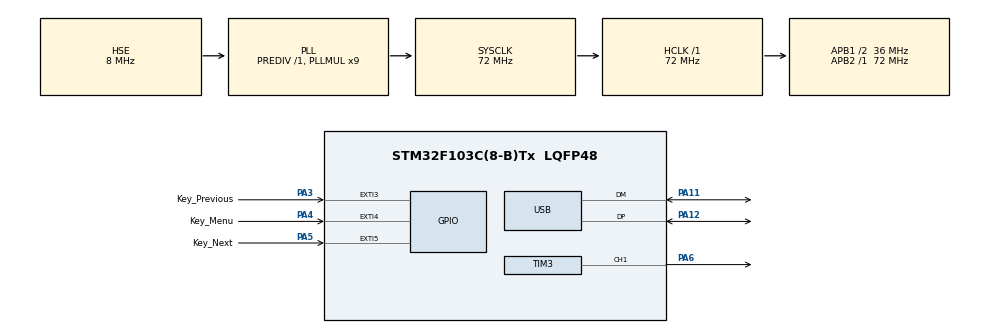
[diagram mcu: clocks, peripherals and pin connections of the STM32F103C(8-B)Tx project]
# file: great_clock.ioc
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Dma.Request0=TIM3_CH1/TRIG
Dma.TIM3_CH1/TRIG.0.Direction=DMA_MEMORY_TO_PERIPH
Dma.TIM3_CH1/TRIG.0.Instance=DMA1_Channel6
Dma.TIM3_CH1/TRIG.0.MemDataAlignment=DMA_MDATAALIGN_BYTE
Dma.TIM3_CH1/TRIG.0.MemInc=DMA_MINC_ENABLE
Dma.TIM3_CH1/TRIG.0.Mode=DMA_NORMAL
Dma.TIM3_CH1/TRIG.0.PeriphDataAlignment=DMA_PDATAALIGN_HALFWORD
Dma.TIM3_CH1/TRIG.0.PeriphInc=DMA_PINC_DISABLE
Dma.TIM3_CH1/TRIG.0.Priority=DMA_PRIORITY_LOW
Mcu.Family=STM32F1
Mcu.Name=STM32F103C(8-B)Tx
Mcu.Package=LQFP48
NVIC.DMA1_Channel6_IRQn=true\:0\:0\:false\:false\:true\:false\:true
NVIC.EXTI3_IRQn=true\:0\:0\:false\:false\:true\:true\:true
NVIC.EXTI4_IRQn=true\:0\:0\:false\:false\:true\:true\:true
NVIC.EXTI9_5_IRQn=true\:3\:0\:true\:false\:true\:true\:true
NVIC.PriorityGroup=NVIC_PRIORITYGROUP_4
NVIC.RTC_IRQn=true\:0\:0\:true\:false\:true\:true\:true
NVIC.TIM2_IRQn=true\:2\:0\:true\:false\:true\:true\:true
NVIC.TIM4_IRQn=true\:1\:0\:true\:false\:true\:true\:true
NVIC.USB_LP_CAN1_RX0_IRQn=true\:0\:0\:false\:false\:true\:false\:true
PA11.Mode=Device
PA11.Signal=USB_DM
PA12.Mode=Device
PA12.Signal=USB_DP
PA13.Mode=Serial_Wire
PA13.Signal=SYS_JTMS-SWDIO
PA14.Mode=Serial_Wire
PA14.Signal=SYS_JTCK-SWCLK
PA3.GPIO_Label=Key_Previous
PA3.GPIO_ModeDefaultEXTI=GPIO_MODE_IT_FALLING
PA3.GPIO_PuPd=GPIO_PULLUP
PA3.Signal=GPXTI3
PA4.GPIO_Label=Key_Menu
PA4.GPIO_ModeDefaultEXTI=GPIO_MODE_IT_FALLING
PA4.GPIO_PuPd=GPIO_PULLUP
PA4.Signal=GPXTI4
PA5.GPIO_Label=Key_Next
PA5.GPIO_ModeDefaultEXTI=GPIO_MODE_IT_FALLING
PA5.GPIO_PuPd=GPIO_PULLUP
PA5.Signal=GPXTI5
PA6.Signal=S_TIM3_CH1
PC14-OSC32_IN.Mode=LSE-External-Oscillator
PC14-OSC32_IN.Signal=RCC_OSC32_IN
PC15-OSC32_OUT.Mode=LSE-External-Oscillator
PC15-OSC32_OUT.Signal=RCC_OSC32_OUT
PD0-OSC_IN.Mode=HSE-External-Oscillator
PD0-OSC_IN.Signal=RCC_OSC_IN
PD1-OSC_OUT.Mode=HSE-External-Oscillator
PD1-OSC_OUT.Signal=RCC_OSC_OUT
ProjectManager.HeapSize=0x200
ProjectManager.StackSize=0x400
ProjectManager.TargetToolchain=MDK-ARM V5.27
RCC.AHBFreq_Value=72000000
RCC.APB1CLKDivider=RCC_HCLK_DIV2
RCC.APB1Freq_Value=36000000
RCC.APB1TimFreq_Value=72000000
RCC.APB2Freq_Value=72000000
RCC.APB2TimFreq_Value=72000000
RCC.HCLKFreq_Value=72000000
RCC.PLLMUL=RCC_PLL_MUL9
RCC.PLLSourceVirtual=RCC_PLLSOURCE_HSE
RCC.RTCClockSelection=RCC_RTCCLKSOURCE_LSE
RCC.SYSCLKFreq_VALUE=72000000
RCC.SYSCLKSource=RCC_SYSCLKSOURCE_PLLCLK
RCC.USBFreq_Value=48000000
RCC.USBPrescaler=RCC_USBCLKSOURCE_PLL_DIV1_5
RTC.Format=RTC_FORMAT_BIN
RTC.Hours=12
RTC.Month=RTC_MONTH_OCTOBER
RTC.WeekDay=RTC_WEEKDAY_TUESDAY
RTC.Year=19
SH.S_TIM3_CH1.0=TIM3_CH1,PWM Generation1 CH1
TIM2.Period=100-1
TIM2.Prescaler=7200-1
TIM3.Channel-PWM\ Generation1\ CH1=TIM_CHANNEL_1
TIM3.Period=80-1
TIM4.CounterMode=TIM_COUNTERMODE_DOWN
TIM4.Period=1000-1
TIM4.Prescaler=72-1
USB_DEVICE.CLASS_NAME_FS=CDC
USB_DEVICE.MANUFACTURER_STRING=Clock
USB_DEVICE.PRODUCT_STRING_CDC_FS=GreatClock
USB_DEVICE.VirtualMode=Cdc
USB_DEVICE.VirtualModeFS=Cdc_FS
VP_RTC_VS_RTC_Activate.Mode=RTC_Enabled
VP_RTC_VS_RTC_Calendar.Mode=RTC_Calendar
VP_TIM2_VS_ClockSourceINT.Mode=Internal
VP_TIM3_VS_ClockSourceINT.Mode=Internal
VP_TIM4_VS_ClockSourceINT.Mode=Internal
VP_USB_DEVICE_VS_USB_DEVICE_CDC_FS.Mode=CDC_FS
board=custom

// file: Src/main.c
/* USER CODE BEGIN Header */
/**
******************************************************************************
* @file           : main.c
* @brief          : Main program body
******************************************************************************
* @attention
*
* <h2><center>&copy; Copyright (c) 2019 STMicroelectronics.
* All rights reserved.</center></h2>
*
* This software component is licensed by ST under BSD 3-Clause license,
* the "License"; You may not use this file except in compliance with the
* License. You may obtain a copy of the License at:
*                        opensource.org/licenses/BSD-3-Clause
*
******************************************************************************
*/
/* USER CODE END Header */

#include "main.h"
#include "usb_device.h"

/* USER CODE BEGIN Includes */
#include "time.h"
#include "key.h"
#include "commander.h"
#include "ws2812b.h"
#include "user_data.h"
/* USER CODE END Includes */

/* USER CODE BEGIN PM */
//#define RTT_DEBUG
/* USER CODE END PM */

RTC_HandleTypeDef hrtc;

TIM_HandleTypeDef htim2;
TIM_HandleTypeDef htim3;
TIM_HandleTypeDef htim4;
DMA_HandleTypeDef hdma_tim3_ch1_trig;

/* USER CODE BEGIN PV */

//Count Mode

//Common

char buf[100];  //缓存字符串

/* USER CODE END PV */

void SystemClock_Config(void);
static void MX_GPIO_Init(void);
static void MX_RTC_Init(void);
static void MX_DMA_Init(void);
static void MX_TIM3_Init(void);
static void MX_TIM4_Init(void);
static void MX_TIM2_Init(void);

/* USER CODE BEGIN 0 */

//PWM生成完成中断
void HAL_TIM_PWM_PulseFinishedCallback(TIM_HandleTypeDef *htim)
{
  __HAL_TIM_SET_COMPARE(&htim3,TIM_CHANNEL_1,0);
  HAL_TIM_PWM_Stop_DMA(htim,TIM_CHANNEL_1);
}

//RTC秒中断
void HAL_RTCEx_RTCEventCallback(RTC_HandleTypeDef *hrtc)
{
  current_datetime=Get_DateTime();
}

void HAL_GPIO_EXTI_Callback(uint16_t GPIO_Pin)
{
  for(int i=0;i<3;i++)
  {
    if(GPIO_Pin==keys[i].Pin)
    {
      keys[i].Key_Down=1u;
    }
  }
}

//定时器周期中断
uint16_t count=0;
void HAL_TIM_PeriodElapsedCallback(TIM_HandleTypeDef *htim)
{
  if(htim==&htim4)
  {
    //1ms
    Key_Method_Judge(&keys[1]);
    Key_Method_Judge(&keys[0]);
    Key_Method_Judge(&keys[2]);
  }
  else if(htim==&htim2)
  {
    //10ms
    switch(Global_Mode)
    {
    case SettingMode:
      if(setting_time_or_date)
      {
        if(setting_select_glitter_count%80>40)
        {
          switch(setting_edit_position)
          {
          case 0:
            Load_Num(1,set_datetime.year%10,0x000000);
            Load_Num(0,set_datetime.year%100/10,0x000000);
            break;
          case 1:
            Load_Num(3,set_datetime.month%10,0x000000);
            Load_Num(2,set_datetime.month/10,0x000000);
            break;
          case 2:
            Load_Num(5,set_datetime.date%10,0x000000);
            Load_Num(4,set_datetime.date/10,0x000000);
            break;
          }
        }
        else
        {
          Load_Num(5,set_datetime.date%10,0xffff00);
          Load_Num(4,set_datetime.date/10,0xffff00);
          Load_Num(3,set_datetime.month%10,0xffff00);
          Load_Num(2,set_datetime.month/10,0xffff00);
          Load_Num(1,set_datetime.year%10,0xffff00);
          Load_Num(0,set_datetime.year%100/10,0xffff00);
        }
        Show_RGB();
      }
      else
      {
        if(setting_select_glitter_count%80>40)
        {
          switch(setting_edit_position)
          {
          case 0:
            Load_Num(1,set_datetime.hour%10,0x000000);
            Load_Num(0,set_datetime.hour/10,0x000000);
            break;
          case 1:
            Load_Num(3,set_datetime.minute%10,0x000000);
            Load_Num(2,set_datetime.minute/10,0x000000);
            break;
          case 2:
            Load_Num(5,set_datetime.second%10,0x000000);
            Load_Num(4,set_datetime.second/10,0x000000);
            break;
          }
        }
        else
        {
          Load_Num(5,set_datetime.second%10,0x00fffff);
          Load_Num(4,set_datetime.second/10,0x00fffff);
          Load_Num(3,set_datetime.minute%10,0x00fffff);
          Load_Num(2,set_datetime.minute/10,0x00fffff);
          Load_Num(1,set_datetime.hour%10,0x00fffff);
          Load_Num(0,set_datetime.hour/10,0x00fffff);
        }
        Show_RGB();
      }
      break;
    case CountMode:
      Load_Num(5,set_datetime.second%10,0x00ff00);
      Load_Num(4,set_datetime.second/10,0x00ff00);
      Load_Num(3,set_datetime.minute%10,0x00ff00);
      Load_Num(2,set_datetime.minute/10,0x00ff00);
      Load_Num(1,set_datetime.hour%10,0x00ff00);
      Load_Num(0,set_datetime.hour/10,0x00ff00);
      Show_RGB();
      break;
    case DisplayMode:
      if(data.others[0]*60+data.others[1]<data.others[2]*60+data.others[3])
      {
        if(current_datetime.hour*60+current_datetime.minute>data.others[0]*60+data.others[1]&&
           current_datetime.hour*60+current_datetime.minute<data.others[2]*60+data.others[3])
        {
          if(display_time_or_date)
          {
            show_date();
            count++;
          }
          else
          {
            show_time();
            count++;
          }
          break;

        }
      }
      else
      {
        if(current_datetime.hour*60+current_datetime.minute>data.others[0]*60+data.others[1]||
           current_datetime.hour*60+current_datetime.minute<data.others[2]*60+data.others[3])
        {
          if(display_time_or_date)
          {
            show_date();
            count++;
          }
          else
          {
            show_time();
            count++;
          }
          break;

        }
      }
      Clear_RGB();
      Show_RGB();
    }
    (setting_select_glitter_count<0xffffff)?(setting_select_glitter_count++):(setting_select_glitter_count=0);
  }
}
/* USER CODE END 0 */

int main(void)
{
  /* USER CODE BEGIN 1 */
  __enable_irq();
  /* USER CODE END 1 */

  /* MCU Configuration--------------------------------------------------------*/

  /* Reset of all peripherals, Initializes the Flash interface and the Systick. */
  HAL_Init();

  /* Configure the system clock */
  SystemClock_Config();

  /* Initialize all configured peripherals */
  MX_GPIO_Init();
  MX_RTC_Init();
  MX_USB_DEVICE_Init();
  MX_DMA_Init();
  MX_TIM3_Init();
  MX_TIM4_Init();
  MX_TIM2_Init();
  /* USER CODE BEGIN 2 */
  __HAL_RCC_BKP_CLK_ENABLE();
  HAL_RTCEx_SetSecond_IT(&hrtc);
  //读取RGB设置，显示时间
  Get_Data();
  current_datetime=Get_DateTime();
  show_time();
  HAL_TIM_Base_Start_IT(&htim4);
  HAL_TIM_Base_Start_IT(&htim2);
  /* USER CODE END 2 */

  /* Infinite loop */
  /* USER CODE BEGIN WHILE */
  while (1)
  {
    Wait_For_Commander();
    /* USER CODE END WHILE */

  }
}

void SystemClock_Config(void)
{
  RCC_OscInitTypeDef RCC_OscInitStruct = {0};
  RCC_ClkInitTypeDef RCC_ClkInitStruct = {0};
  RCC_PeriphCLKInitTypeDef PeriphClkInit = {0};

  /** Initializes the CPU, AHB and APB busses clocks
  */
  RCC_OscInitStruct.OscillatorType = RCC_OSCILLATORTYPE_HSE|RCC_OSCILLATORTYPE_LSE;
  RCC_OscInitStruct.HSEState = RCC_HSE_ON;
  RCC_OscInitStruct.HSEPredivValue = RCC_HSE_PREDIV_DIV1;
  RCC_OscInitStruct.LSEState = RCC_LSE_ON;
  RCC_OscInitStruct.HSIState = RCC_HSI_ON;
  RCC_OscInitStruct.PLL.PLLState = RCC_PLL_ON;
  RCC_OscInitStruct.PLL.PLLSource = RCC_PLLSOURCE_HSE;
  RCC_OscInitStruct.PLL.PLLMUL = RCC_PLL_MUL9;
  if (HAL_RCC_OscConfig(&RCC_OscInitStruct) != HAL_OK)
  {
    Error_Handler();
  }
  /** Initializes the CPU, AHB and APB busses clocks
  */
  RCC_ClkInitStruct.ClockType = RCC_CLOCKTYPE_HCLK|RCC_CLOCKTYPE_SYSCLK
    |RCC_CLOCKTYPE_PCLK1|RCC_CLOCKTYPE_PCLK2;
  RCC_ClkInitStruct.SYSCLKSource = RCC_SYSCLKSOURCE_PLLCLK;
  RCC_ClkInitStruct.AHBCLKDivider = RCC_SYSCLK_DIV1;
  RCC_ClkInitStruct.APB1CLKDivider = RCC_HCLK_DIV2;
  RCC_ClkInitStruct.APB2CLKDivider = RCC_HCLK_DIV1;

  if (HAL_RCC_ClockConfig(&RCC_ClkInitStruct, FLASH_LATENCY_2) != HAL_OK)
  {
    Error_Handler();
  }
  PeriphClkInit.PeriphClockSelection = RCC_PERIPHCLK_RTC|RCC_PERIPHCLK_USB;
  PeriphClkInit.RTCClockSelection = RCC_RTCCLKSOURCE_LSE;
  PeriphClkInit.UsbClockSelection = RCC_USBCLKSOURCE_PLL_DIV1_5;
  if (HAL_RCCEx_PeriphCLKConfig(&PeriphClkInit) != HAL_OK)
  {
    Error_Handler();
  }
}

static void MX_RTC_Init(void)
{

  RTC_TimeTypeDef sTime = {0};
  RTC_DateTypeDef DateToUpdate = {0};

  /** Initialize RTC Only
  */
  hrtc.Instance = RTC;
  hrtc.Init.AsynchPrediv = RTC_AUTO_1_SECOND;
  hrtc.Init.OutPut = RTC_OUTPUTSOURCE_ALARM;
  if (HAL_RTC_Init(&hrtc) != HAL_OK)
  {
    Error_Handler();
  }

  /* USER CODE BEGIN Check_RTC_BKUP */
  if(HAL_RTCEx_BKUPRead(&hrtc,RTC_BKP_DR10)==0xabcdu)
  {
    return;
  }
  /* USER CODE END Check_RTC_BKUP */

  /** Initialize RTC and set the Time and Date
  */
  sTime.Hours = 12;
  sTime.Minutes = 0;
  sTime.Seconds = 0;

  if (HAL_RTC_SetTime(&hrtc, &sTime, RTC_FORMAT_BIN) != HAL_OK)
  {
    Error_Handler();
  }
  DateToUpdate.WeekDay = RTC_WEEKDAY_TUESDAY;
  DateToUpdate.Month = RTC_MONTH_OCTOBER;
  DateToUpdate.Date = 1;
  DateToUpdate.Year = 19;

  if (HAL_RTC_SetDate(&hrtc, &DateToUpdate, RTC_FORMAT_BIN) != HAL_OK)
  {
    Error_Handler();
  }
  /* USER CODE BEGIN RTC_Init 2 */
  HAL_RTCEx_BKUPWrite(&hrtc,RTC_BKP_DR10,0xabcdu);
  /* USER CODE END RTC_Init 2 */

}

static void MX_TIM2_Init(void)
{

  TIM_ClockConfigTypeDef sClockSourceConfig = {0};
  TIM_MasterConfigTypeDef sMasterConfig = {0};

  htim2.Instance = TIM2;
  htim2.Init.Prescaler = 7200-1;
  htim2.Init.CounterMode = TIM_COUNTERMODE_UP;
  htim2.Init.Period = 100-1;
  htim2.Init.ClockDivision = TIM_CLOCKDIVISION_DIV1;
  htim2.Init.AutoReloadPreload = TIM_AUTORELOAD_PRELOAD_DISABLE;
  if (HAL_TIM_Base_Init(&htim2) != HAL_OK)
  {
    Error_Handler();
  }
  sClockSourceConfig.ClockSource = TIM_CLOCKSOURCE_INTERNAL;
  if (HAL_TIM_ConfigClockSource(&htim2, &sClockSourceConfig) != HAL_OK)
  {
    Error_Handler();
  }
  sMasterConfig.MasterOutputTrigger = TIM_TRGO_RESET;
  sMasterConfig.MasterSlaveMode = TIM_MASTERSLAVEMODE_DISABLE;
  if (HAL_TIMEx_MasterConfigSynchronization(&htim2, &sMasterConfig) != HAL_OK)
  {
    Error_Handler();
  }

}

static void MX_TIM3_Init(void)
{

  TIM_ClockConfigTypeDef sClockSourceConfig = {0};
  TIM_MasterConfigTypeDef sMasterConfig = {0};
  TIM_OC_InitTypeDef sConfigOC = {0};

  htim3.Instance = TIM3;
  htim3.Init.Prescaler = 0;
  htim3.Init.CounterMode = TIM_COUNTERMODE_UP;
  htim3.Init.Period = 80-1;
  htim3.Init.ClockDivision = TIM_CLOCKDIVISION_DIV1;
  htim3.Init.AutoReloadPreload = TIM_AUTORELOAD_PRELOAD_DISABLE;
  if (HAL_TIM_Base_Init(&htim3) != HAL_OK)
  {
    Error_Handler();
  }
  sClockSourceConfig.ClockSource = TIM_CLOCKSOURCE_INTERNAL;
  if (HAL_TIM_ConfigClockSource(&htim3, &sClockSourceConfig) != HAL_OK)
  {
    Error_Handler();
  }
  if (HAL_TIM_PWM_Init(&htim3) != HAL_OK)
  {
    Error_Handler();
  }
  sMasterConfig.MasterOutputTrigger = TIM_TRGO_RESET;
  sMasterConfig.MasterSlaveMode = TIM_MASTERSLAVEMODE_DISABLE;
  if (HAL_TIMEx_MasterConfigSynchronization(&htim3, &sMasterConfig) != HAL_OK)
  {
    Error_Handler();
  }
  sConfigOC.OCMode = TIM_OCMODE_PWM1;
  sConfigOC.Pulse = 0;
  sConfigOC.OCPolarity = TIM_OCPOLARITY_HIGH;
  sConfigOC.OCFastMode = TIM_OCFAST_DISABLE;
  if (HAL_TIM_PWM_ConfigChannel(&htim3, &sConfigOC, TIM_CHANNEL_1) != HAL_OK)
  {
    Error_Handler();
  }
  HAL_TIM_MspPostInit(&htim3);

}

static void MX_TIM4_Init(void)
{

  TIM_ClockConfigTypeDef sClockSourceConfig = {0};
  TIM_MasterConfigTypeDef sMasterConfig = {0};

  htim4.Instance = TIM4;
  htim4.Init.Prescaler = 72-1;
  htim4.Init.CounterMode = TIM_COUNTERMODE_DOWN;
  htim4.Init.Period = 1000-1;
  htim4.Init.ClockDivision = TIM_CLOCKDIVISION_DIV1;
  htim4.Init.AutoReloadPreload = TIM_AUTORELOAD_PRELOAD_DISABLE;
  if (HAL_TIM_Base_Init(&htim4) != HAL_OK)
  {
    Error_Handler();
  }
  sClockSourceConfig.ClockSource = TIM_CLOCKSOURCE_INTERNAL;
  if (HAL_TIM_ConfigClockSource(&htim4, &sClockSourceConfig) != HAL_OK)
  {
    Error_Handler();
  }
  sMasterConfig.MasterOutputTrigger = TIM_TRGO_RESET;
  sMasterConfig.MasterSlaveMode = TIM_MASTERSLAVEMODE_DISABLE;
  if (HAL_TIMEx_MasterConfigSynchronization(&htim4, &sMasterConfig) != HAL_OK)
  {
    Error_Handler();
  }

}

static void MX_DMA_Init(void)
{

  /* DMA controller clock enable */
  __HAL_RCC_DMA1_CLK_ENABLE();

  /* DMA interrupt init */
  /* DMA1_Channel6_IRQn interrupt configuration */
  HAL_NVIC_SetPriority(DMA1_Channel6_IRQn, 0, 0);
  HAL_NVIC_EnableIRQ(DMA1_Channel6_IRQn);

}

static void MX_GPIO_Init(void)
{
  GPIO_InitTypeDef GPIO_InitStruct = {0};

  /* GPIO Ports Clock Enable */
  __HAL_RCC_GPIOC_CLK_ENABLE();
  __HAL_RCC_GPIOD_CLK_ENABLE();
  __HAL_RCC_GPIOA_CLK_ENABLE();

  /*Configure GPIO pins : Key_Previous_Pin Key_Menu_Pin Key_Next_Pin */
  GPIO_InitStruct.Pin = Key_Previous_Pin|Key_Menu_Pin|Key_Next_Pin;
  GPIO_InitStruct.Mode = GPIO_MODE_IT_FALLING;
  GPIO_InitStruct.Pull = GPIO_PULLUP;
  HAL_GPIO_Init(GPIOA, &GPIO_InitStruct);

  /* EXTI interrupt init*/
  HAL_NVIC_SetPriority(EXTI3_IRQn, 0, 0);
  HAL_NVIC_EnableIRQ(EXTI3_IRQn);

  HAL_NVIC_SetPriority(EXTI4_IRQn, 0, 0);
  HAL_NVIC_EnableIRQ(EXTI4_IRQn);

  HAL_NVIC_SetPriority(EXTI9_5_IRQn, 3, 0);
  HAL_NVIC_EnableIRQ(EXTI9_5_IRQn);

}

void Error_Handler(void)
{
}

/************************ (C) COPYRIGHT STMicroelectronics *****END OF FILE****/
